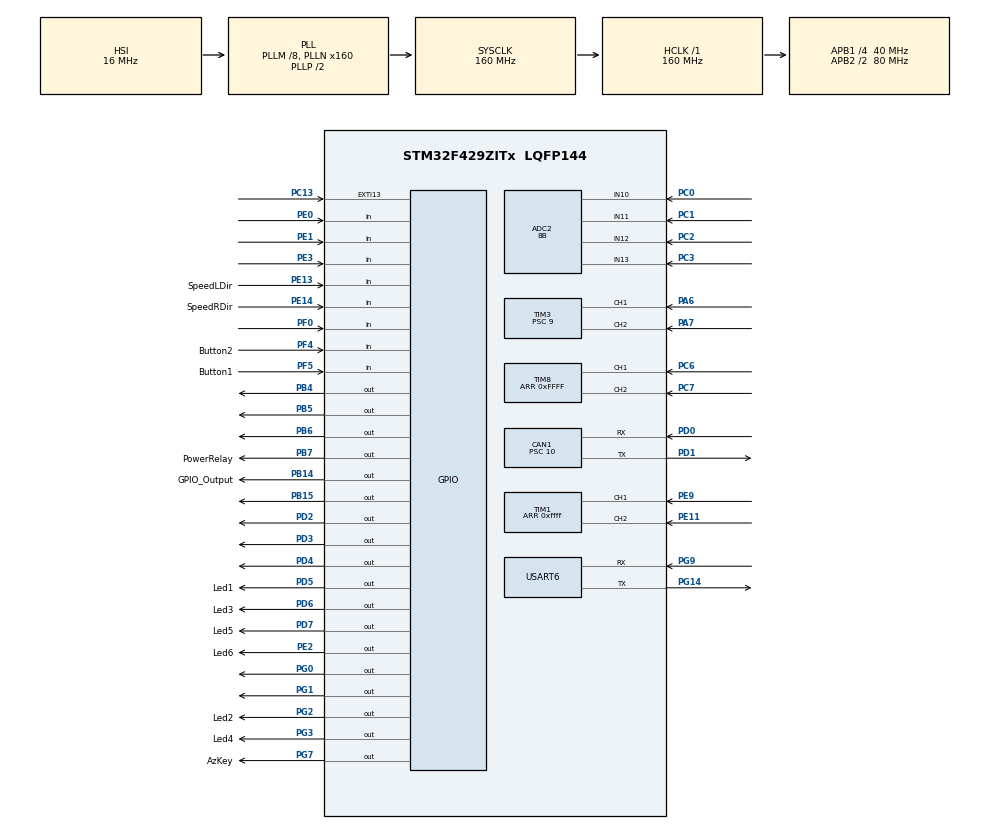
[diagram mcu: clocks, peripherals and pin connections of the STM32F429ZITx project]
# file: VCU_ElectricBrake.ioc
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ADC2.Channel-12\#ChannelRegularConversion=ADC_CHANNEL_10
ADC2.Channel-13\#ChannelRegularConversion=ADC_CHANNEL_11
ADC2.Channel-14\#ChannelRegularConversion=ADC_CHANNEL_12
ADC2.Channel-15\#ChannelRegularConversion=ADC_CHANNEL_13
ADC2.ClockPrescaler=ADC_CLOCK_SYNC_PCLK_DIV4
ADC2.ContinuousConvMode=ENABLE
ADC2.NbrOfConversion=4
ADC2.NbrOfConversionFlag=1
ADC2.Rank-12\#ChannelRegularConversion=1
ADC2.Rank-13\#ChannelRegularConversion=2
ADC2.Rank-14\#ChannelRegularConversion=3
ADC2.Rank-15\#ChannelRegularConversion=4
ADC2.Resolution=ADC_RESOLUTION_8B
ADC2.SamplingTime-12\#ChannelRegularConversion=ADC_SAMPLETIME_3CYCLES
ADC2.SamplingTime-13\#ChannelRegularConversion=ADC_SAMPLETIME_3CYCLES
ADC2.SamplingTime-14\#ChannelRegularConversion=ADC_SAMPLETIME_3CYCLES
ADC2.SamplingTime-15\#ChannelRegularConversion=ADC_SAMPLETIME_3CYCLES
ADC2.ScanConvMode=ENABLE
CAN1.BS1=CAN_BS1_13TQ
CAN1.BS2=CAN_BS2_2TQ
CAN1.CalculateTimeQuantum=250.0
CAN1.Prescaler=10
Mcu.Family=STM32F4
Mcu.Name=STM32F429ZITx
Mcu.Package=LQFP144
NVIC.CAN1_RX0_IRQn=true\:1\:0\:true\:false\:true\:true\:true
NVIC.CAN1_SCE_IRQn=true\:1\:0\:true\:false\:true\:true\:true
NVIC.CAN1_TX_IRQn=true\:1\:0\:true\:false\:true\:true\:true
NVIC.EXTI15_10_IRQn=true\:4\:0\:true\:false\:true\:true\:true
NVIC.FPU_IRQn=true\:0\:0\:false\:false\:true\:true\:false
NVIC.PriorityGroup=NVIC_PRIORITYGROUP_4
NVIC.RCC_IRQn=true\:0\:0\:false\:false\:true\:true\:false
NVIC.TIM7_IRQn=true\:0\:0\:false\:false\:true\:true\:true
NVIC.USART6_IRQn=true\:2\:0\:true\:false\:true\:true\:true
PA6.Signal=S_TIM3_CH1
PA7.Signal=S_TIM3_CH2
PB14.GPIO_Label=GPIO_Output
PB14.PinState=GPIO_PIN_RESET
PB14.Signal=GPIO_Output
PB15.Signal=GPIO_Output
PB4.Signal=GPIO_Output
PB5.Signal=GPIO_Output
PB6.GPIO_Speed=GPIO_SPEED_FREQ_VERY_HIGH
PB6.PinState=GPIO_PIN_SET
PB6.Signal=GPIO_Output
PB7.GPIO_Label=PowerRelay
PB7.GPIO_Speed=GPIO_SPEED_FREQ_VERY_HIGH
PB7.PinState=GPIO_PIN_SET
PB7.Signal=GPIO_Output
PC0.Signal=ADCx_IN10
PC1.Signal=ADCx_IN11
PC13.Signal=GPXTI13
PC2.Signal=ADCx_IN12
PC3.Signal=ADCx_IN13
PC6.Signal=S_TIM8_CH1
PC7.Signal=S_TIM8_CH2
PD0.Mode=Master
PD0.Signal=CAN1_RX
PD1.Mode=Master
PD1.Signal=CAN1_TX
PD2.Signal=GPIO_Output
PD3.Signal=GPIO_Output
PD4.Signal=GPIO_Output
PD5.GPIO_Label=Led1
PD5.Signal=GPIO_Output
PD6.GPIO_Label=Led3
PD6.Signal=GPIO_Output
PD7.GPIO_Label=Led5
PD7.Signal=GPIO_Output
PD8.Signal=USART3_TX
PD9.Signal=USART3_RX
PE0.Signal=GPIO_Input
PE1.Signal=GPIO_Input
PE11.GPIO_PuPd=GPIO_NOPULL
PE11.Signal=S_TIM1_CH2
PE13.GPIO_Label=SpeedLDir
PE13.Signal=GPIO_Input
PE14.GPIO_Label=SpeedRDir
PE14.Signal=GPIO_Input
PE2.GPIO_Label=Led6
PE2.Signal=GPIO_Output
PE3.Signal=GPIO_Input
PE9.GPIO_PuPd=GPIO_NOPULL
PE9.Signal=S_TIM1_CH1
PF0.GPIO_PuPd=GPIO_PULLDOWN
PF0.Signal=GPIO_Input
PF4.GPIO_Label=Button2
PF4.GPIO_PuPd=GPIO_PULLDOWN
PF4.Signal=GPIO_Input
PF5.GPIO_Label=Button1
PF5.GPIO_PuPd=GPIO_PULLDOWN
PF5.Signal=GPIO_Input
PG0.PinState=GPIO_PIN_RESET
PG0.Signal=GPIO_Output
PG1.PinState=GPIO_PIN_RESET
PG1.Signal=GPIO_Output
PG14.Mode=Asynchronous
PG14.Signal=USART6_TX
PG2.GPIO_Label=Led2
PG2.PinState=GPIO_PIN_RESET
PG2.Signal=GPIO_Output
PG3.GPIO_Label=Led4
PG3.Signal=GPIO_Output
PG7.GPIO_Label=AzKey
PG7.Signal=GPIO_Output
PG9.Mode=Asynchronous
PG9.Signal=USART6_RX
PH0/OSC_IN.Mode=HSE-External-Oscillator
PH0/OSC_IN.Signal=RCC_OSC_IN
PH1/OSC_OUT.Mode=HSE-External-Oscillator
PH1/OSC_OUT.Signal=RCC_OSC_OUT
ProjectManager.HeapSize=0x200
ProjectManager.StackSize=0x400
ProjectManager.TargetToolchain=SW4STM32
RCC.48MHZClocksFreq_Value=45714285.71428572
RCC.AHBFreq_Value=160000000
RCC.APB1CLKDivider=RCC_HCLK_DIV4
RCC.APB1Freq_Value=40000000
RCC.APB1TimFreq_Value=80000000
RCC.APB2CLKDivider=RCC_HCLK_DIV2
RCC.APB2Freq_Value=80000000
RCC.APB2TimFreq_Value=160000000
RCC.CortexFreq_Value=160000000
RCC.HCLKFreq_Value=160000000
RCC.HSE_VALUE=8000000
RCC.HSI_VALUE=16000000
RCC.LSE_VALUE=32768
RCC.PLLM=8
RCC.PLLMUL=RCC_PLL_MUL9
RCC.PLLN=160
RCC.PLLQ=7
RCC.PRESCALERUSB=RCC_USBCLKSOURCE_PLL_DIV1_5
RCC.RCC_RTC_Clock_Source=RCC_RTCCLKSOURCE_LSI
RCC.RCC_RTC_Clock_SourceVirtual=RCC_RTCCLKSOURCE_LSI
RCC.SYSCLKFreq_VALUE=160000000
RCC.SYSCLKSource=RCC_SYSCLKSOURCE_PLLCLK
RCC.SYSCLKSourceVirtual=RCC_SYSCLKSOURCE_PLLCLK
RCC.USBFreq_Value=48000000
RCC.VCOOutputFreq_Value=320000000
SH.ADCx_IN10.0=ADC2_IN10,IN10
SH.ADCx_IN11.0=ADC2_IN11,IN11
SH.ADCx_IN12.0=ADC2_IN12,IN12
SH.ADCx_IN13.0=ADC2_IN13,IN13
SH.S_TIM1_CH1.0=TIM1_CH1,Encoder_Interface
SH.S_TIM1_CH2.0=TIM1_CH2,Encoder_Interface
SH.S_TIM3_CH1.0=TIM3_CH1,Encoder_Interface
SH.S_TIM3_CH2.0=TIM3_CH2,Encoder_Interface
SH.S_TIM8_CH1.0=TIM8_CH1,Encoder_Interface
SH.S_TIM8_CH2.0=TIM8_CH2,Encoder_Interface
TIM1.EncoderMode=TIM_ENCODERMODE_TI1
TIM1.IC1Filter=0
TIM1.Period=0xffff
TIM3.EncoderMode=TIM_ENCODERMODE_TI12
TIM3.Period=0xffff
TIM3.Prescaler=9
TIM7.AutoReloadPreload=TIM_AUTORELOAD_PRELOAD_ENABLE
TIM7.Period=100
TIM7.Prescaler=7999
TIM8.EncoderMode=TIM_ENCODERMODE_TI1
TIM8.Period=0xFFFF
USART6.VirtualMode=VM_ASYNC
VP_TIM7_VS_ClockSourceINT.Mode=Enable_Timer
board=NUCLEO-F429ZI

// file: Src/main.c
/* USER CODE BEGIN Header */
/**
 ******************************************************************************
 * @file           : main.c
 * @brief          : Main program body
 ******************************************************************************
 * @attention
 *
 * <h2><center>&copy; Copyright (c) 2019 STMicroelectronics.
 * All rights reserved.</center></h2>
 *
 * This software component is licensed by ST under BSD 3-Clause license,
 * the "License"; You may not use this file except in compliance with the
 * License. You may obtain a copy of the License at:
 *                        opensource.org/licenses/BSD-3-Clause
 *
 ******************************************************************************
 */
/* USER CODE END Header */

#include "main.h"
#include "adc.h"
#include "can.h"
#include "tim.h"
#include "usart.h"
#include "gpio.h"

/* USER CODE BEGIN Includes */
#include "CanRead.h"
#include "CanWrite.h"
#include "CanWriteBack.h"
#include "CtrlSpeed.h"
#include "Controllo.h"
/* USER CODE END Includes */

/* USER CODE BEGIN PV */
SysPhaseTypedef SysPhase = SYS_START;
int SysPhaseCount = 0;
/* ========================================================================================
 * Timing
 * ======================================================================================== */

char 		enable10ms = 0;
char 		conta100 = 0;
long int 	tempo 	= 0; 	// tempo dall'avvio in secondi
int 		tempo1s = 0; 	// variabile d'appoggio per incrementare il tempo
int			BrakeTime = 0;

/* ========================================================================================
 * CAN-BUS communication
 * ======================================================================================== */
CAN_TxHeaderTypeDef CAN_TxHeader0 	= {.StdId = 0x162, .IDE = CAN_ID_STD, .DLC = 8};
unsigned char  		CAN_TxMex0[8] 	= {0};

CAN_TxHeaderTypeDef CAN_TxHeader1 	= {.StdId = 0x163, .IDE = CAN_ID_STD, .DLC = 8};
unsigned char  		CAN_TxMex1[8] 	= {0};

CAN_TxHeaderTypeDef CAN_TxHeader2 	= {.StdId = 0x164, .IDE = CAN_ID_STD, .DLC = 8};
unsigned char  		CAN_TxMex2[8] 	= {0};

uint32_t			CAN_TxMailBoxN 	= 0x00000001U;
uint32_t 			CAN_RxMailBoxN;
uint32_t 			CAN_RxFifo0		= CAN_RX_FIFO0;
uint32_t 			CAN_RxFifo1		= CAN_RX_FIFO1;
CAN_RxHeaderTypeDef CAN_RxHeader0;
CAN_RxHeaderTypeDef CAN_RxHeader1;
uint8_t 			CAN_RxMex0[8]   = {0};
uint8_t 			CAN_RxMex1[8]   = {0};
CAN_FilterTypeDef   CAN_RxFilter0;
CAN_FilterTypeDef   CAN_RxFilter1;
HAL_StatusTypeDef   CAN_Mex0Available;
HAL_StatusTypeDef   CAN_Mex1Available;
HAL_StatusTypeDef 	CAN_WriteError;

struct CanStruct  CAN_MexIn = {.ActualTorque = 0, .ActualSpeed = 0, .DriveStatus = 0, .ComErrorCan = 0, .NewMexCan = 0}; //  to read

struct ControllerStruct ControlRef 	  = {.Torque = 0, .FW = 0, .RW = 0, .FootSwitch = 0, .SeatSwitch = 0, .Status = 0, .Time = 0, .ToggleBit = 0};
struct ControllerStruct ControlStatus = {.Torque = 0, .Torque_filt = 0, .Speed = 0, .Speed_filt = 0, .FW = 0, .RW = 0, .FootSwitch = 0, .SeatSwitch = 0, .Status = 0, .Time = 0, .Acc = 0, .Acc_filt = 0};
struct SysStatusStruct  SysStatus 	  = {.Speed = 0, .SpeedW = 0, .Pressure = 0, .SysPhase = 0 };

struct ABSControlStruct ABSControl = {.controlTorque = 0, .Fx=0, .Fx0 = 0, .FxFilt =0, .FxFilt0=0, .errFx = 0, .FxD = 0, .FxD_filt = 0, .DFDT=0, .DFDT_filt=0, .Fmax = 0, .Tmax = 0 , .k=0, .ks=0, .phase=1};

struct SpeedStruct controlSpeed ={.v = 0, .kp = 5.0, .ki = 1.0, .kd = 0, .force_max = 50, .errI = 0, .a_ref = 0, .d_v = 0 };

char ToggleBit = 1;
int ii = 0;
double v0 = 0; //velocitа allo step precedente

/* USER CODE END PV */

void SystemClock_Config(void);
/* USER CODE BEGIN PFP */
void HAL_CAN_RxFifo0MsgPendingCallback(CAN_HandleTypeDef *hcan){
	if(!HAL_CAN_GetRxMessage(&hcan1, CAN_RxFifo0, &CAN_RxHeader0, CAN_RxMex0)){
		CAN_MexIn.NewMexCan = 1;
	}
}
/* USER CODE END PFP */

int main(void)
{

  /* MCU Configuration--------------------------------------------------------*/

  /* Reset of all peripherals, Initializes the Flash interface and the Systick. */
  HAL_Init();

  /* Configure the system clock */
  SystemClock_Config();

  /* Initialize all configured peripherals */
  MX_GPIO_Init();
  MX_USART6_UART_Init();
  MX_ADC2_Init();
  MX_CAN1_Init();
  MX_TIM8_Init();
  MX_TIM3_Init();
  MX_TIM1_Init();
  MX_TIM7_Init();
  /* USER CODE BEGIN 2 */

	TIM3->CNT=0x0000;
	HAL_TIM_Encoder_Start(&htim3, TIM_CHANNEL_ALL);

	/* ========================================================================================
	 * Enable TIM6 counter and interrupt
	 * ======================================================================================== */
	TIM7->CR1 	|= 0x1;								/* Enable TIM6 counter                    */
	TIM7->DIER 	|= 0x1;								/* Enable TIM6 interrupt                  */
	/* ========================================================================================
	 * set CAN
	 * ======================================================================================== */
	// CAN Filter config
	CAN_RxFilter0.FilterFIFOAssignment = CAN_FILTER_FIFO0;
	CAN_RxFilter0.FilterIdLow 		= 0x132<<5;
	//CAN_RxFilter0.FilterMaskIdLow  	= 0x142<<5;
	CAN_RxFilter0.FilterIdHigh 		= 0x142<<5;
	CAN_RxFilter0.FilterMode 		= CAN_FILTERMODE_IDLIST;
	CAN_RxFilter0.FilterScale 		= CAN_FILTERSCALE_16BIT;
	CAN_RxFilter0.FilterActivation   = ENABLE;
	CAN_RxFilter0.FilterBank 		= 0;
	HAL_CAN_ConfigFilter(&hcan1, &CAN_RxFilter0);

	HAL_CAN_Start(&hcan1);

	HAL_CAN_ActivateNotification(&hcan1,CAN_IT_RX_FIFO0_MSG_PENDING);
	//HAL_CAN_ActivateNotification(&hcan1,CAN_IT_RX_FIFO1_MSG_PENDING);
	HAL_CAN_IRQHandler(&hcan1);
  /* USER CODE END 2 */

  /* Infinite loop */
  /* USER CODE BEGIN WHILE */
	while (1)
	{
		if (enable10ms == 1 ){
			enable10ms = 0;
			tempo1s++;
			if (tempo1s>9){
				tempo1s=0;
				tempo++;
			}

			READ_SENSORS(&SysStatus, 0.01);

			switch (SysPhase){
			case (SYS_START) :
				conta100++;
				if (conta100>9){
					conta100 = 0;
					HAL_GPIO_TogglePin(Led5_GPIO_Port,Led5_Pin);
				}
				if(tempo>10){
					HAL_GPIO_WritePin(AzKey_GPIO_Port,AzKey_Pin,SET);
				}
				ControlStatus.Time++;

				switch (ControlStatus.Status){
					case 1: // SeatSwitch
						HAL_GPIO_WritePin(Led1_GPIO_Port,Led1_Pin,SET);
						if (ControlStatus.Time>100){
							ControlRef.SeatSwitch = 1;
						}
						if ((ControlStatus.N) & (ControlStatus.Time>200)){
							ControlStatus.Status 	= 2;
							ControlStatus.Time 		= 0;
							HAL_GPIO_WritePin(Led1_GPIO_Port,Led1_Pin,RESET);
						}
						break;
					case 2: // FootSwitch
						ControlRef.FootSwitch = 1;
						HAL_GPIO_WritePin(Led2_GPIO_Port,Led2_Pin,SET);

						if ((ControlStatus.N) & (ControlStatus.Time>100)){
							ControlStatus.Status 	= 3;
							ControlStatus.Time 		= 0;
							HAL_GPIO_WritePin(Led2_GPIO_Port,Led2_Pin,RESET);
						}
						break;
					case 3: // Forward
						ControlRef.FW = 1;
						HAL_GPIO_WritePin(Led3_GPIO_Port,Led3_Pin,SET);

						if ((ControlStatus.FW) & (ControlStatus.Time>100)){
							ControlStatus.Status 	= 4;
							ControlStatus.Time   	= 0;
							HAL_GPIO_WritePin(Led3_GPIO_Port,Led3_Pin,RESET);
						}
						break;
					case 4: // init ends
						HAL_GPIO_WritePin(Led4_GPIO_Port,Led4_Pin,SET);
						if(HAL_GPIO_ReadPin(Button1_GPIO_Port,Button1_Pin) & (ControlStatus.Time>50)){
							SysPhase = SYS_ACC;
							ControlStatus.Time 		= 0;
							HAL_GPIO_WritePin(Led4_GPIO_Port,Led4_Pin,RESET);
						}
						break;
					default:
						HAL_GPIO_WritePin(Led1_GPIO_Port,Led1_Pin,RESET);
						HAL_GPIO_WritePin(Led2_GPIO_Port,Led2_Pin,RESET);
						HAL_GPIO_WritePin(Led3_GPIO_Port,Led3_Pin,RESET);
						HAL_GPIO_WritePin(Led4_GPIO_Port,Led4_Pin,RESET);
						ControlRef.FootSwitch = 0;
						ControlRef.SeatSwitch = 0;
						ControlRef.FW = 0;
						ControlRef.RW = 0;
						break;
				} //chiude lo switch interno
				if (HAL_GPIO_ReadPin(Button1_GPIO_Port,Button1_Pin) & (ControlStatus.Status == 0)){
					ControlStatus.Status = 1;
				}
				break;

			case (SYS_ACC) :
				conta100++;

				if (conta100>10){
					conta100 = 0;
					HAL_GPIO_TogglePin(Led5_GPIO_Port,Led5_Pin);
				}

				if (ControlStatus.Speed_filt < 1){

					controlSpeed.enable = TRUE;

					controlSpeed.v_ref += 1;
					if (controlSpeed.v_ref > 2 ){
						controlSpeed.v_ref = 2;
					}

					controlSpeed.v = ControlStatus.Speed_filt;
					CtrlSpeed(&controlSpeed ,&ControlRef,0.01);

				}else{
					ControlRef.Torque += 0.2;
					if (ControlRef.Torque > 28 ){
						ControlRef.Torque = 28; // [N/m]
					}

					Controllo(&ControlStatus,&ABSControl,&ControlRef);
				}

				FILTER1Velo(&ControlStatus, 0.05, 0.01);
				FILTER1Torque(&ControlStatus, 0.05, 0.01);

				//controlSpeed.v = ControlStatus.Speed_filt;

				ControlStatus.Acc = (ControlStatus.Speed_filt - ControlStatus.Speed_filt0)/0.01; // Acc in m/s^2
				FILTER1Acc(&ControlStatus, 0.05, 0.01);

				//FILTER1Fx(&ABSControl, 3, 0.01);

				FILTER1(&ABSControl.DFDT, &ABSControl.DFDT_filt, 0.05, 0.01);
				FILTER1(&ABSControl.FxD, &ABSControl.FxD_filt, 0.075, 0.01);

				HAL_GPIO_WritePin(Led1_GPIO_Port,Led1_Pin,SET);

				ControlStatus.Time++;

				if ( ( HAL_GPIO_ReadPin(Button1_GPIO_Port,Button1_Pin) | ControlStatus.Speed_filt > 21 ) & (ControlStatus.Time>50)) {
					SysPhase = SYS_BRAKE;
					ControlRef.Torque = 0;
					ControlStatus.Time 		= 0;
					HAL_GPIO_WritePin(Led1_GPIO_Port,Led1_Pin,RESET);
					HAL_GPIO_WritePin(Led5_GPIO_Port,Led5_Pin,RESET);
				}

				break;

			case (SYS_BRAKE) :

				conta100++;
				if (conta100>10){
					conta100 = 0;
					HAL_GPIO_TogglePin(Led5_GPIO_Port,Led5_Pin);
				}

				BrakeTime++;

				if (BrakeTime < 60){
					ControlRef.Torque =0;

				}else{

				ControlRef.Torque -= 0.2;
				if (ControlRef.Torque < -28){
					ControlRef.Torque = -28;
				}

				Controllo(&ControlStatus,&ABSControl,&ControlRef);
				}

				ControlRef.Torque = 0;
				/*if (ControlStatus.Speed_filt < 2){
						SysPhase = SYS_ACC;
						ControlStatus.Time 		= 0;
						HAL_GPIO_WritePin(Led2_GPIO_Port,Led2_Pin,RESET);
						HAL_GPIO_WritePin(Led5_GPIO_Port,Led5_Pin,RESET);
					}*/

					/*controlSpeed.v_ref -= 0.1;
					if (controlSpeed.v_ref <  0){
					 controlSpeed.v_ref = 0;
					}*/

				FILTER1Velo(&ControlStatus, 0.05, 0.01);
				FILTER1Torque(&ControlStatus, 0.05, 0.01);

				//controlSpeed.v = ControlStatus.Speed_filt;

				ControlStatus.Acc = (ControlStatus.Speed_filt - ControlStatus.Speed_filt0)/0.01; // Acc in m/s^2
				FILTER1Acc(&ControlStatus, 0.05, 0.01);

				//FILTER1Fx(&ABSControl, 3, 0.01);

				FILTER1(&ABSControl.DFDT, &ABSControl.DFDT_filt, 0.05, 0.01);
				FILTER1(&ABSControl.FxD, &ABSControl.FxD_filt, 0.075, 0.01);

				//controlSpeed.enable = TRUE;
				//CtrlSpeed(&controlSpeed,&ControlRef,0.01);

				HAL_GPIO_WritePin(Led2_GPIO_Port,Led2_Pin,SET);

				ControlStatus.Time++;

				if (HAL_GPIO_ReadPin(Button1_GPIO_Port,Button1_Pin) & (ControlStatus.Time>50)) {
					SysPhase = SYS_ACC;
					ControlStatus.Time 		= 0;
					HAL_GPIO_WritePin(Led2_GPIO_Port,Led2_Pin,RESET);
					HAL_GPIO_WritePin(Led5_GPIO_Port,Led5_Pin,RESET);
				}

				break;

			case (SYS_DEBUG) :
				HAL_GPIO_WritePin(Led2_GPIO_Port, Led2_Pin,RESET);
				HAL_GPIO_TogglePin(Led3_GPIO_Port,Led3_Pin);
				break;
			default:
				break;

			} //Chiude switch esterno

			//CanWrite(&CAN_TxHeader0, CAN_TxMex0, &CAN_TxMailBoxN, &ControlRef);

			SysStatus.SysPhase = SysPhase;

			//CAN_WriteError = (CanWriteBack(&CAN_TxHeader1, CAN_TxMex1, &CAN_TxMailBoxN, &ControlStatus, &ControlRef, &SysStatus));

			CanWriteBack(&CAN_TxHeader1, &CAN_TxHeader2, CAN_TxMex1, CAN_TxMex2, &CAN_TxMailBoxN, &ControlStatus, &ControlRef, &SysStatus, &controlSpeed, &ABSControl);

			if (ControlStatus.Status != 0){
				CAN_WriteError = CanWrite(&CAN_TxHeader0, CAN_TxMex0, &CAN_TxMailBoxN, &ControlRef);

				if (CAN_WriteError){
					HAL_GPIO_WritePin(Led5_GPIO_Port,Led5_Pin,SET);
				}

				if (ControlStatus.Fault == 0x1D){
					ControlStatus.Status = 0;
				}

				CAN_MexIn.ComErrorCan ++;
				if (CAN_MexIn.ComErrorCan>9){
					HAL_GPIO_WritePin(Led5_GPIO_Port, Led5_Pin,SET);
					ControlStatus.Status = 0;
				}
			}

		} //IF contatore 10ms

		if (CAN_MexIn.NewMexCan){
			CanRead(&CAN_MexIn, &CAN_RxHeader0, CAN_RxMex0, &ControlStatus);
		}

    /* USER CODE END WHILE */

  }
}

void SystemClock_Config(void)
{
  RCC_OscInitTypeDef RCC_OscInitStruct = {0};
  RCC_ClkInitTypeDef RCC_ClkInitStruct = {0};

  /** Configure the main internal regulator output voltage
  */
  __HAL_RCC_PWR_CLK_ENABLE();
  __HAL_PWR_VOLTAGESCALING_CONFIG(PWR_REGULATOR_VOLTAGE_SCALE1);
  /** Initializes the CPU, AHB and APB busses clocks
  */
  RCC_OscInitStruct.OscillatorType = RCC_OSCILLATORTYPE_HSI;
  RCC_OscInitStruct.HSIState = RCC_HSI_ON;
  RCC_OscInitStruct.HSICalibrationValue = RCC_HSICALIBRATION_DEFAULT;
  RCC_OscInitStruct.PLL.PLLState = RCC_PLL_ON;
  RCC_OscInitStruct.PLL.PLLSource = RCC_PLLSOURCE_HSI;
  RCC_OscInitStruct.PLL.PLLM = 8;
  RCC_OscInitStruct.PLL.PLLN = 160;
  RCC_OscInitStruct.PLL.PLLP = RCC_PLLP_DIV2;
  RCC_OscInitStruct.PLL.PLLQ = 7;

  if (HAL_RCC_OscConfig(&RCC_OscInitStruct) != HAL_OK)
  {
    Error_Handler();
  }
  /** Initializes the CPU, AHB and APB busses clocks
  */
  RCC_ClkInitStruct.ClockType = RCC_CLOCKTYPE_HCLK|RCC_CLOCKTYPE_SYSCLK
                              |RCC_CLOCKTYPE_PCLK1|RCC_CLOCKTYPE_PCLK2;
  RCC_ClkInitStruct.SYSCLKSource = RCC_SYSCLKSOURCE_PLLCLK;
  RCC_ClkInitStruct.AHBCLKDivider = RCC_SYSCLK_DIV1;
  RCC_ClkInitStruct.APB1CLKDivider = RCC_HCLK_DIV4;
  RCC_ClkInitStruct.APB2CLKDivider = RCC_HCLK_DIV2;

  if (HAL_RCC_ClockConfig(&RCC_ClkInitStruct, FLASH_LATENCY_5) != HAL_OK)
  {
    Error_Handler();
  }
}

void Error_Handler(void)
{
}

/************************ (C) COPYRIGHT STMicroelectronics *****END OF FILE****/
